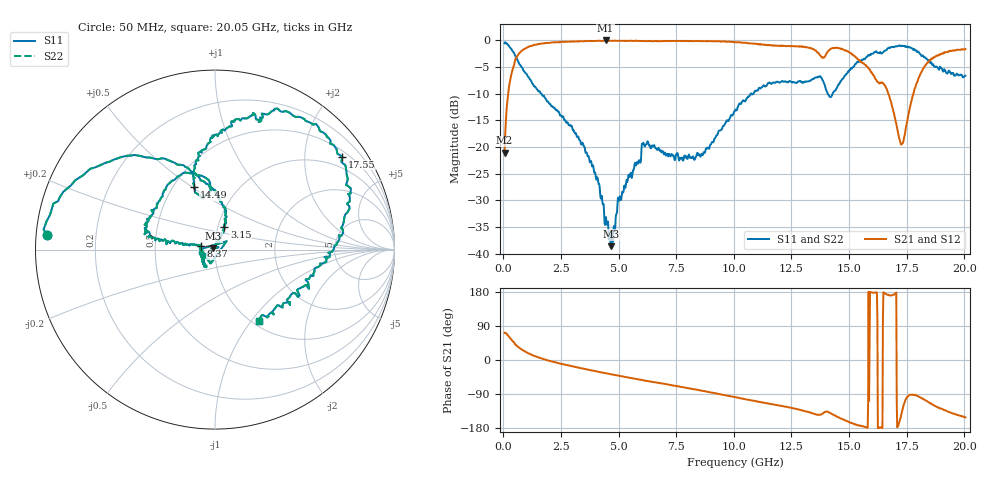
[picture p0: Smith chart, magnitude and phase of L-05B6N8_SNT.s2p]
! P/N: L-05C6N8_SHUNT
! Measured by Marlon
! Sep. 23, 2003
! Measure with a Shunt-through-fixture
#	mhz	s	ma	r	50
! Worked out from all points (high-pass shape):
!   1001 points, 50 MHz to 20.05 GHz, reference 50 ohm
!   highest |S21| = -0.02 dB at 4.43 GHz (marker M1); lowest = -21.0 dB at 50 MHz (marker M2)
!   |S21| within 3 dB of the highest: 584.8 MHz to 13.79 GHz (13.2 GHz wide, 184 % of centre); 18.75 GHz to end of sweep (the widest 2 of 3)
!   lowest |S11| = -38.6 dB at 4.67 GHz (marker M3), VSWR 1.02, Z = 49.1 + j0.722 ohm
!   |S11| at or under -10 dB: 1.649 GHz to 10.73 GHz (9.079 GHz wide, 147 % of centre); 10.76 GHz to 10.85 GHz (94.86 MHz wide, 0.878 % of centre); 14.08 GHz to 14.28 GHz (203.1 MHz wide, 1.43 % of centre)
!   |S22| runs from -38.6 to -0.3 dB; largest |S21 - S12| = 0
!   S11 on the Smith chart (normalised r, x): 50 MHz: 0.03, +0.04; 3.15 GHz: 1.07, +0.27; 8.37 GHz: 0.85, +0.04; 14.49 GHz: 0.63, +0.51; 17.55 GHz: 0.65, +2.94; 20.05 GHz: 1.08, -1.09
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50  0.9387 175.0  0.08882 71.8  0.08882 71.8  0.9387 175.0
290  0.8549 152.0  0.4215 57.5  0.4215 57.5  0.8549 152.0
650  0.6275 125.2  0.7396 34.0  0.7396 34.0  0.6275 125.2
1510  0.3346 91.7  0.925 6.9  0.925 6.9  0.3346 91.7
3150  0.1348 67.3  0.9784 -18.8  0.9784 -18.8  0.1348 67.3
3390  0.1057 65.7  0.9832 -21.8  0.9832 -21.8  0.1057 65.7
4430  0.02082 83.3  0.9979 -34.8  0.9979 -34.8  0.02082 83.3
4670  0.01179 141.4  0.989 -37.6  0.989 -37.6  0.01179 141.4
6090  0.1078 -117.6  0.9851 -53.8  0.9851 -53.8  0.1078 -117.6
6730  0.09844 -136.1  0.9791 -60.5  0.9791 -60.5  0.09844 -136.1
8370  0.08246 165.3  0.9849 -78.0  0.9849 -78.0  0.08246 165.3
10050  0.2183 170.7  0.9592 -97.8  0.9592 -97.8  0.2183 170.7
11570  0.3996 167.1  0.9017 -116.0  0.9017 -116.0  0.3996 167.1
13390  0.4294 132.0  0.8376 -140.1  0.8376 -140.1  0.4294 132.0
13970  0.3635 94.2  0.7156 -136.4  0.7156 -136.4  0.3635 94.2
14490  0.3668 108.4  0.8527 -149.9  0.8527 -149.9  0.3668 108.4
15990  0.748 78.2  0.4969 178.0  0.4969 178.0  0.748 78.2
16730  0.8519 67.0  0.3075 171.5  0.3075 171.5  0.8519 67.0
17250  0.8846 48.8  0.1062 -149.6  0.1062 -149.6  0.8846 48.8
17550  0.8777 36.1  0.1905 -95.6  0.1905 -95.6  0.8777 36.1
18570  0.6236 -6.3  0.6733 -115.9  0.6733 -115.9  0.6236 -6.3
20050  0.4664 -57.9  0.8292 -151.3  0.8292 -151.3  0.4664 -57.9
